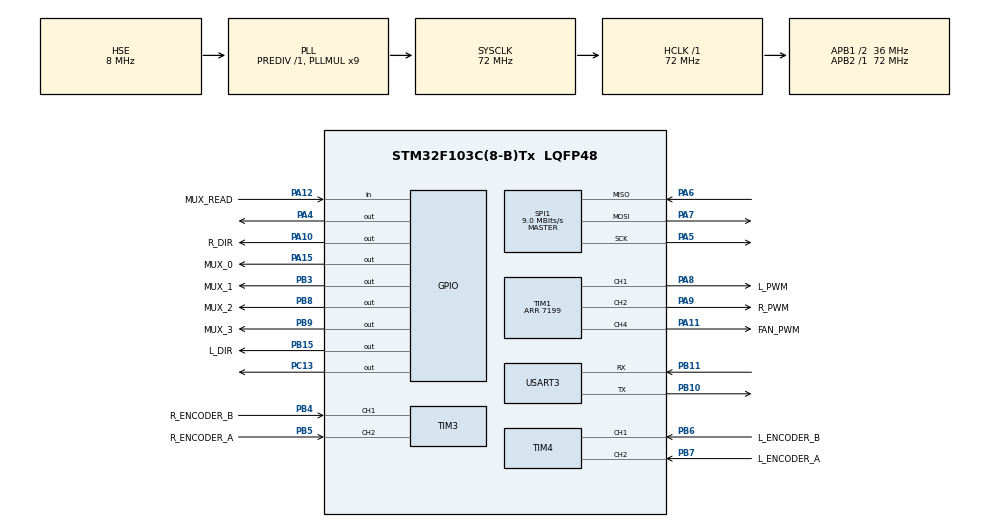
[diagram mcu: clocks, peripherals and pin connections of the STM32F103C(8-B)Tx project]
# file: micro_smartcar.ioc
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Dma.Request0=SPI1_RX
Dma.Request1=SPI1_TX
Dma.SPI1_RX.0.Direction=DMA_PERIPH_TO_MEMORY
Dma.SPI1_RX.0.Instance=DMA1_Channel2
Dma.SPI1_RX.0.MemDataAlignment=DMA_MDATAALIGN_BYTE
Dma.SPI1_RX.0.MemInc=DMA_MINC_ENABLE
Dma.SPI1_RX.0.Mode=DMA_NORMAL
Dma.SPI1_RX.0.PeriphDataAlignment=DMA_PDATAALIGN_BYTE
Dma.SPI1_RX.0.PeriphInc=DMA_PINC_DISABLE
Dma.SPI1_RX.0.Priority=DMA_PRIORITY_LOW
Dma.SPI1_TX.1.Direction=DMA_MEMORY_TO_PERIPH
Dma.SPI1_TX.1.Instance=DMA1_Channel3
Dma.SPI1_TX.1.MemDataAlignment=DMA_MDATAALIGN_BYTE
Dma.SPI1_TX.1.MemInc=DMA_MINC_ENABLE
Dma.SPI1_TX.1.Mode=DMA_NORMAL
Dma.SPI1_TX.1.PeriphDataAlignment=DMA_PDATAALIGN_BYTE
Dma.SPI1_TX.1.PeriphInc=DMA_PINC_DISABLE
Dma.SPI1_TX.1.Priority=DMA_PRIORITY_LOW
Mcu.Family=STM32F1
Mcu.Name=STM32F103C(8-B)Tx
Mcu.Package=LQFP48
NVIC.DMA1_Channel2_IRQn=true\:0\:0\:false\:false\:true\:false\:true\:true
NVIC.DMA1_Channel3_IRQn=true\:0\:0\:false\:false\:true\:false\:true\:true
NVIC.PriorityGroup=NVIC_PRIORITYGROUP_4
NVIC.RCC_IRQn=true\:0\:0\:false\:false\:true\:true\:false\:true
NVIC.SPI1_IRQn=true\:0\:0\:false\:false\:true\:true\:true\:true
NVIC.TIM2_IRQn=true\:1\:0\:true\:false\:true\:true\:true\:true
NVIC.TIM3_IRQn=true\:0\:0\:false\:false\:true\:true\:true\:true
NVIC.TIM4_IRQn=true\:0\:0\:false\:false\:true\:true\:true\:true
NVIC.USART3_IRQn=true\:0\:0\:false\:false\:true\:true\:true\:true
PA10.GPIO_Label=R_DIR
PA10.Signal=GPIO_Output
PA11.GPIO_Label=FAN_PWM
PA11.Signal=S_TIM1_CH4
PA12.GPIO_Label=MUX_READ
PA12.Signal=GPIO_Input
PA13.Mode=Serial_Wire
PA13.Signal=SYS_JTMS-SWDIO
PA14.Mode=Serial_Wire
PA14.Signal=SYS_JTCK-SWCLK
PA15.GPIO_Label=MUX_0
PA15.GPIO_Speed=GPIO_SPEED_FREQ_MEDIUM
PA15.Signal=GPIO_Output
PA4.GPIO_PuPd=GPIO_NOPULL
PA4.GPIO_Speed=GPIO_SPEED_FREQ_HIGH
PA4.Signal=GPIO_Output
PA5.Mode=Full_Duplex_Master
PA5.Signal=SPI1_SCK
PA6.Mode=Full_Duplex_Master
PA6.Signal=SPI1_MISO
PA7.Mode=Full_Duplex_Master
PA7.Signal=SPI1_MOSI
PA8.GPIO_Label=L_PWM
PA8.Signal=S_TIM1_CH1
PA9.GPIO_Label=R_PWM
PA9.Signal=S_TIM1_CH2
PB10.Mode=Asynchronous
PB10.Signal=USART3_TX
PB11.Mode=Asynchronous
PB11.Signal=USART3_RX
PB15.GPIO_Label=L_DIR
PB15.Signal=GPIO_Output
PB3.GPIO_Label=MUX_1
PB3.GPIO_Speed=GPIO_SPEED_FREQ_MEDIUM
PB3.Signal=GPIO_Output
PB4.GPIO_Label=R_ENCODER_B
PB4.Signal=S_TIM3_CH1
PB5.GPIO_Label=R_ENCODER_A
PB5.Signal=S_TIM3_CH2
PB6.GPIO_Label=L_ENCODER_B
PB6.Signal=S_TIM4_CH1
PB7.GPIO_Label=L_ENCODER_A
PB7.Signal=S_TIM4_CH2
PB8.GPIO_Label=MUX_2
PB8.GPIO_Speed=GPIO_SPEED_FREQ_MEDIUM
PB8.Signal=GPIO_Output
PB9.GPIO_Label=MUX_3
PB9.GPIO_Speed=GPIO_SPEED_FREQ_MEDIUM
PB9.Signal=GPIO_Output
PC13-TAMPER-RTC.GPIO_ModeDefaultOutputPP=GPIO_MODE_OUTPUT_OD
PC13-TAMPER-RTC.GPIO_PuPd=GPIO_NOPULL
PC13-TAMPER-RTC.Signal=GPIO_Output
PD0-OSC_IN.Mode=HSE-External-Oscillator
PD0-OSC_IN.Signal=RCC_OSC_IN
PD1-OSC_OUT.Mode=HSE-External-Oscillator
PD1-OSC_OUT.Signal=RCC_OSC_OUT
ProjectManager.HeapSize=0x200
ProjectManager.StackSize=0x400
ProjectManager.TargetToolchain=MDK-ARM V5.32
RCC.AHBFreq_Value=72000000
RCC.APB1CLKDivider=RCC_HCLK_DIV2
RCC.APB1Freq_Value=36000000
RCC.APB1TimFreq_Value=72000000
RCC.APB2Freq_Value=72000000
RCC.APB2TimFreq_Value=72000000
RCC.HCLKFreq_Value=72000000
RCC.PLLMUL=RCC_PLL_MUL9
RCC.PLLSourceVirtual=RCC_PLLSOURCE_HSE
RCC.SYSCLKFreq_VALUE=72000000
RCC.SYSCLKSource=RCC_SYSCLKSOURCE_PLLCLK
RCC.USBFreq_Value=72000000
SH.S_TIM1_CH1.0=TIM1_CH1,PWM Generation1 CH1
SH.S_TIM1_CH2.0=TIM1_CH2,PWM Generation2 CH2
SH.S_TIM1_CH4.0=TIM1_CH4,PWM Generation4 CH4
SH.S_TIM3_CH1.0=TIM3_CH1,Encoder_Interface
SH.S_TIM3_CH2.0=TIM3_CH2,Encoder_Interface
SH.S_TIM4_CH1.0=TIM4_CH1,Encoder_Interface
SH.S_TIM4_CH2.0=TIM4_CH2,Encoder_Interface
SPI1.BaudRatePrescaler=SPI_BAUDRATEPRESCALER_8
SPI1.CalculateBaudRate=9.0 MBits/s
SPI1.Direction=SPI_DIRECTION_2LINES
SPI1.Mode=SPI_MODE_MASTER
SPI1.VirtualType=VM_MASTER
TIM1.Channel-PWM\ Generation1\ CH1=TIM_CHANNEL_1
TIM1.Channel-PWM\ Generation2\ CH2=TIM_CHANNEL_2
TIM1.Channel-PWM\ Generation4\ CH4=TIM_CHANNEL_4
TIM1.Period=7199
TIM2.Period=999
TIM2.Prescaler=71
TIM3.EncoderMode=TIM_ENCODERMODE_TI12
TIM4.EncoderMode=TIM_ENCODERMODE_TI12
USART3.VirtualMode=VM_ASYNC
VP_TIM1_VS_ClockSourceINT.Mode=Internal
VP_TIM2_VS_ClockSourceINT.Mode=Internal
board=custom

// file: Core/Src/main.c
/* USER CODE BEGIN Header */
/**
  ******************************************************************************
  * @file           : main.c
  * @brief          : Main program body
  ******************************************************************************
  * @attention
  *
  * Copyright (c) 2025 STMicroelectronics.
  * All rights reserved.
  *
  * This software is licensed under terms that can be found in the LICENSE file
  * in the root directory of this software component.
  * If no LICENSE file comes with this software, it is provided AS-IS.
  *
  * 本文件内含BMI270�????螺仪的使用示�????
  ******************************************************************************
  */
/* USER CODE END Header */
#include "main.h"

/* USER CODE BEGIN Includes */
#include "dodo_BMI270.h" //陀螺仪驱动
#include "multiplexer.h"//多路复用器驱动，用于读取光电管读数
#include "stdio.h"
#include "string.h"
/* USER CODE END Includes */

/* USER CODE BEGIN PD */
//#define integralLimit0 (20000)  //此值需计算
//#define integralLimit1 (20000)  后面加了
/* USER CODE END PD */

SPI_HandleTypeDef hspi1;
DMA_HandleTypeDef hdma_spi1_rx;
DMA_HandleTypeDef hdma_spi1_tx;

TIM_HandleTypeDef htim1;
TIM_HandleTypeDef htim2;
TIM_HandleTypeDef htim3;
TIM_HandleTypeDef htim4;

UART_HandleTypeDef huart3;

void SystemClock_Config(void);
static void MX_GPIO_Init(void);
static void MX_DMA_Init(void);
static void MX_SPI1_Init(void);
static void MX_TIM1_Init(void);
static void MX_TIM2_Init(void);
static void MX_TIM3_Init(void);
static void MX_USART3_UART_Init(void);
static void MX_TIM4_Init(void);

/* USER CODE BEGIN 0 */
int fputc(int ch, FILE *f)
{
  HAL_UART_Transmit(&huart3, (uint8_t *)&ch, 1, 0xffff);
  return ch;
}
	//光电管
  int8_t photo_weight[12] = {-6, -5, -4, -3, -2, -1, 1, 2, 3, 4, 5, 6};  // 权值
  uint8_t photo_val[12]={0}; //这是干嘛的？//记录比较器的输出是多少

  float gyro_x, gyro_y, gyro_z, accel_x, accel_y, accel_z;//陀螺仪数据
  // PID控制器结构体
typedef struct {
    // 参数
    float Kp;
    float Ki;
    float Kd;

    // 状态变量
    float current_error;
    float pre_error;
    float inte_error;

    // 积分限幅
    float integral_limit;
} PID_Controller;

// 全局变量
/*const float Kp_angle=0;
const float Kd_angle=0;*/
volatile float measured_angle;

/*const float Kp_Angularvelocity=0;
const float Ki_Angularvelocity=0;
const float Kd_Angularvelocity=0;*/

/*const float Kp_vio=0;
const float Ki_vio=0;*/

const float target_angle=0;    // 与光电管PD相关的参数
uint16_t mux_value;            //存储光电管从多路复用器（MUX）读取到的 “打包数据”

volatile float target_Angularvelocity;
volatile float measured_Angularvelocity;
const float integralLimit0 = 100.0f;  // 角速度环积分限幅

volatile float target_translation_vio=50;//目标平动速度
float target_leftwheelvio;
float rotatevio_adding;
float target_rightwheelvio;
volatile float measured_leftwheelvio;
volatile float measured_rightwheelvio;
const float integralLimit1 = 100.0f;  // 速度环积分限幅

float leftoutput;
float leftpwm;
float rightoutput;
float rightpwm;

//三个结构体定义
PID_Controller angle_pid_pd = {.Kp=0, 0, .Kd=0, 0, 0, 0, 0};  // 角度环只有PD
PID_Controller angular_velocity_pid_pid = {.Kp=0, .Ki=0, .Kd=0, 0, 0, 0, integralLimit0};
PID_Controller velocity_pid_pi_left = {.Kp=70, .Ki=13, 0, 0, 0, 0, integralLimit1};
PID_Controller velocity_pid_pi_right = {.Kp=70, .Ki=13, 0, 0, 0, 0, integralLimit1};

//前三个为PID参数，接下来三个是目前误差，前一次误差，以及积分加和误差，最后一个参数是积分限幅

/*void Calculate_measured_angle()
{
    // 实现测量角度计算
}*/
//这里不需要

// PID计算函数
float PID_Calculate(PID_Controller* pid, float target, float measured)
{
    pid->current_error = target - measured;

    float output = pid->Kp * pid->current_error +
                   pid->Kd * (pid->current_error - pid->pre_error);

    // 只有Ki不为0时才计算积分项
    if (pid->Ki != 0) {
        pid->inte_error += pid->current_error;

        // 积分饱和处理
        if (pid->inte_error > pid->integral_limit) {
            pid->inte_error = pid->integral_limit;
        } else if (pid->inte_error < -pid->integral_limit) {
            pid->inte_error = -pid->integral_limit;
        }

        output += pid->Ki * pid->inte_error;
    }

    pid->pre_error = pid->current_error;
    return output;
}

void PIDcontrollor() // 第一种方案PID
{
    // 转向环
    target_Angularvelocity = PID_Calculate(&angle_pid_pd, target_angle, measured_angle);

    // 角速度环
		measured_Angularvelocity=gyro_z;//左正右负
    rotatevio_adding = PID_Calculate(&angular_velocity_pid_pid, target_Angularvelocity, measured_Angularvelocity);

    // 速度环
    target_leftwheelvio =  target_translation_vio + rotatevio_adding;
    target_rightwheelvio = target_translation_vio - rotatevio_adding;

        // 左右轮分别控制
    rightoutput = PID_Calculate(&velocity_pid_pi_right, target_rightwheelvio, measured_rightwheelvio);
    leftoutput = PID_Calculate(&velocity_pid_pi_left, target_leftwheelvio, measured_leftwheelvio);

/*	 leftpwm= leftoutput;
	 rightpwm=rightoutput;

   if (leftpwm > 3600) {
     leftpwm = 3600;                 //限速
   }
	 else if (leftpwm <-3600) {
     leftpwm =-3600;
   }

   if (rightpwm > 3600) {
     rightpwm = 3600;
   }
   else if (rightpwm <-3600) {
     rightpwm =-3600;
   }

	 if ( leftpwm >= 0) {
   TIM1->CCR1 =  leftpwm, HAL_GPIO_WritePin(GPIOB, GPIO_PIN_15, GPIO_PIN_SET);
 } else {
   TIM1->CCR1 = -leftpwm, HAL_GPIO_WritePin(GPIOB, GPIO_PIN_15, GPIO_PIN_RESET); // 操作ccr改pwm
 }

  if ( rightpwm >= 0) {
   TIM1->CCR2 =  rightpwm, HAL_GPIO_WritePin(GPIOA, GPIO_PIN_10, GPIO_PIN_SET);
 } else {
   TIM1->CCR2 = -rightpwm, HAL_GPIO_WritePin(GPIOA, GPIO_PIN_10, GPIO_PIN_RESET);
 }
	  */
}
void if_Stoprunning()
{
		int counter=0;

		for(int j=0;j<=11;j++)
			{
				if(photo_val[j]==0)
				{
					counter++;          //检测所有的光电管是不是都检测到界外
				}
			}

		if(counter==0)
			{
				target_translation_vio=0; //如果完全处于界外，停车
			}

}

void HAL_TIM_PeriodElapsedCallback(TIM_HandleTypeDef *htim){
	if(htim==&htim2){		//TIM2是1ms中断，需要改成5ms中断么？（或者不改中断，在中断回调函数进行计数）  改成5ms为好，或者干到10ms应该也没啥事
		measured_leftwheelvio  = (int16_t)__HAL_TIM_GET_COUNTER(&htim4);
		measured_rightwheelvio = -(int16_t)__HAL_TIM_GET_COUNTER(&htim3);
		__HAL_TIM_SET_COUNTER(&htim4, 0);
		__HAL_TIM_SET_COUNTER(&htim3, 0);

		MUX_get_value(&mux_value);
		for(int i=0;i<=11;i++)//这个循环要塞在这里吗？放到中断回调不知道是不是会有问题，但是放到主循环又容易读不全//单从循环本身看，12 次迭代的耗时通常很短（可能在微秒级，远小于 1ms）
			{
				photo_val[i]=MUX_GET_CHANNEL(mux_value,i);//白色为1，蓝色为0
			//	printf("%d ",photo_val[i]);//测试光电管Vb
				measured_angle += photo_weight[i] * (photo_val[i]); //读取并计算光电管加权
			}
			//printf("\n");
	  //if_Stoprunning();//检测小车是否出界并自动停车
		PIDcontrollor();
		measured_angle=0;
		memset(photo_val,0,sizeof(photo_val));//清零

		//输出限幅和调整
	 leftpwm= leftoutput;
	 rightpwm= rightoutput;

   if (leftpwm > 3600) {
     leftpwm = 3600;                 //限速
   }
	 else if (leftpwm <-3600) {
     leftpwm =-3600;
   }

   if (rightpwm > 3600) {
     rightpwm = 3600;
   }
   else if (rightpwm <-3600) {
     rightpwm =-3600;
   }

	 if ( leftpwm >= 0) {
		 TIM1->CCR1 =  leftpwm, HAL_GPIO_WritePin(GPIOB, GPIO_PIN_15, GPIO_PIN_RESET);
	 } else {
		 TIM1->CCR1 = -leftpwm, HAL_GPIO_WritePin(GPIOB, GPIO_PIN_15, GPIO_PIN_SET); // 操作ccr改pwm
	 }

   if ( rightpwm >= 0) {
     TIM1->CCR2 =  rightpwm, HAL_GPIO_WritePin(GPIOA, GPIO_PIN_10, GPIO_PIN_SET);
   } else {
     TIM1->CCR2 = -rightpwm, HAL_GPIO_WritePin(GPIOA, GPIO_PIN_10, GPIO_PIN_RESET);
   }
	}
		printf("%f\r\n",measured_rightwheelvio);
}
/* USER CODE END 0 */

int main(void)
{

  /* MCU Configuration--------------------------------------------------------*/

  /* Reset of all peripherals, Initializes the Flash interface and the Systick. */
  HAL_Init();

  /* Configure the system clock */
  SystemClock_Config();

  /* Initialize all configured peripherals */
  MX_GPIO_Init();
  MX_DMA_Init();
  MX_SPI1_Init();
  MX_TIM1_Init();
  MX_TIM2_Init();
  MX_TIM3_Init();
  MX_USART3_UART_Init();
  MX_TIM4_Init();
  /* USER CODE BEGIN 2 */
	dodo_BMI270_init();//初始化陀螺仪
  HAL_TIM_Base_Start_IT(&htim2);
	HAL_TIM_PWM_Start(&htim1,TIM_CHANNEL_1);
	HAL_TIM_PWM_Start(&htim1,TIM_CHANNEL_2);
	HAL_TIM_Encoder_Start(&htim3,TIM_CHANNEL_ALL);
	HAL_TIM_Encoder_Start(&htim4,TIM_CHANNEL_ALL);
  /* USER CODE END 2 */

  /* Infinite loop */
  /* USER CODE BEGIN WHILE */
  while (1)
  {
    //以下为陀螺仪使用示例
    dodo_BMI270_get_data();//调用此函数会更新陀螺仪数据
    gyro_x=BMI270_gyro_transition(BMI270_gyro_x);//将原始陀螺仪数据转换为物理值，单位为度每秒
    gyro_y=BMI270_gyro_transition(BMI270_gyro_y);
    gyro_z=BMI270_gyro_transition(BMI270_gyro_z);
		//TIM1->CCR1=3000;

    accel_x=BMI270_acc_transition(BMI270_accel_x);//将原始加速度计数据转换为物理值，单位为g，一般不需要使用此数据
    accel_y=BMI270_acc_transition(BMI270_accel_y);
    accel_z=BMI270_acc_transition(BMI270_accel_z);
    //printf("G: %f %f %f | A: %f %f %f\r\n", gyro_x, gyro_y, gyro_z, accel_x, accel_y, accel_z);
		//输出陀螺仪读数，测试是否成功启动，正常使用时不需要这行代码

		/*//以下为读取光电管的示例（从左到右编号0~11）
    uint16_t mux_value;
    MUX_get_value(&mux_value);
	  for(int i=0;i<=11;i++){
      printf("%d,",MUX_GET_CHANNEL(mux_value,i));//获取第i个光电管的数值并输出
    }
    printf("\n");*/
    /* USER CODE END WHILE */

  }
}

void SystemClock_Config(void)
{
  RCC_OscInitTypeDef RCC_OscInitStruct = {0};
  RCC_ClkInitTypeDef RCC_ClkInitStruct = {0};

  /** Initializes the RCC Oscillators according to the specified parameters
  * in the RCC_OscInitTypeDef structure.
  */
  RCC_OscInitStruct.OscillatorType = RCC_OSCILLATORTYPE_HSE;
  RCC_OscInitStruct.HSEState = RCC_HSE_ON;
  RCC_OscInitStruct.HSEPredivValue = RCC_HSE_PREDIV_DIV1;
  RCC_OscInitStruct.HSIState = RCC_HSI_ON;
  RCC_OscInitStruct.PLL.PLLState = RCC_PLL_ON;
  RCC_OscInitStruct.PLL.PLLSource = RCC_PLLSOURCE_HSE;
  RCC_OscInitStruct.PLL.PLLMUL = RCC_PLL_MUL9;
  if (HAL_RCC_OscConfig(&RCC_OscInitStruct) != HAL_OK)
  {
    Error_Handler();
  }

  /** Initializes the CPU, AHB and APB buses clocks
  */
  RCC_ClkInitStruct.ClockType = RCC_CLOCKTYPE_HCLK|RCC_CLOCKTYPE_SYSCLK
                              |RCC_CLOCKTYPE_PCLK1|RCC_CLOCKTYPE_PCLK2;
  RCC_ClkInitStruct.SYSCLKSource = RCC_SYSCLKSOURCE_PLLCLK;
  RCC_ClkInitStruct.AHBCLKDivider = RCC_SYSCLK_DIV1;
  RCC_ClkInitStruct.APB1CLKDivider = RCC_HCLK_DIV2;
  RCC_ClkInitStruct.APB2CLKDivider = RCC_HCLK_DIV1;

  if (HAL_RCC_ClockConfig(&RCC_ClkInitStruct, FLASH_LATENCY_2) != HAL_OK)
  {
    Error_Handler();
  }
}

static void MX_SPI1_Init(void)
{

  /* SPI1 parameter configuration*/
  hspi1.Instance = SPI1;
  hspi1.Init.Mode = SPI_MODE_MASTER;
  hspi1.Init.Direction = SPI_DIRECTION_2LINES;
  hspi1.Init.DataSize = SPI_DATASIZE_8BIT;
  hspi1.Init.CLKPolarity = SPI_POLARITY_LOW;
  hspi1.Init.CLKPhase = SPI_PHASE_1EDGE;
  hspi1.Init.NSS = SPI_NSS_SOFT;
  hspi1.Init.BaudRatePrescaler = SPI_BAUDRATEPRESCALER_8;
  hspi1.Init.FirstBit = SPI_FIRSTBIT_MSB;
  hspi1.Init.TIMode = SPI_TIMODE_DISABLE;
  hspi1.Init.CRCCalculation = SPI_CRCCALCULATION_DISABLE;
  hspi1.Init.CRCPolynomial = 10;
  if (HAL_SPI_Init(&hspi1) != HAL_OK)
  {
    Error_Handler();
  }

}

static void MX_TIM1_Init(void)
{

  TIM_ClockConfigTypeDef sClockSourceConfig = {0};
  TIM_MasterConfigTypeDef sMasterConfig = {0};
  TIM_OC_InitTypeDef sConfigOC = {0};
  TIM_BreakDeadTimeConfigTypeDef sBreakDeadTimeConfig = {0};

  htim1.Instance = TIM1;
  htim1.Init.Prescaler = 0;
  htim1.Init.CounterMode = TIM_COUNTERMODE_UP;
  htim1.Init.Period = 7199;
  htim1.Init.ClockDivision = TIM_CLOCKDIVISION_DIV1;
  htim1.Init.RepetitionCounter = 0;
  htim1.Init.AutoReloadPreload = TIM_AUTORELOAD_PRELOAD_DISABLE;
  if (HAL_TIM_Base_Init(&htim1) != HAL_OK)
  {
    Error_Handler();
  }
  sClockSourceConfig.ClockSource = TIM_CLOCKSOURCE_INTERNAL;
  if (HAL_TIM_ConfigClockSource(&htim1, &sClockSourceConfig) != HAL_OK)
  {
    Error_Handler();
  }
  if (HAL_TIM_PWM_Init(&htim1) != HAL_OK)
  {
    Error_Handler();
  }
  sMasterConfig.MasterOutputTrigger = TIM_TRGO_RESET;
  sMasterConfig.MasterSlaveMode = TIM_MASTERSLAVEMODE_DISABLE;
  if (HAL_TIMEx_MasterConfigSynchronization(&htim1, &sMasterConfig) != HAL_OK)
  {
    Error_Handler();
  }
  sConfigOC.OCMode = TIM_OCMODE_PWM1;
  sConfigOC.Pulse = 1000;
  sConfigOC.OCPolarity = TIM_OCPOLARITY_HIGH;
  sConfigOC.OCNPolarity = TIM_OCNPOLARITY_HIGH;
  sConfigOC.OCFastMode = TIM_OCFAST_DISABLE;
  sConfigOC.OCIdleState = TIM_OCIDLESTATE_RESET;
  sConfigOC.OCNIdleState = TIM_OCNIDLESTATE_RESET;
  if (HAL_TIM_PWM_ConfigChannel(&htim1, &sConfigOC, TIM_CHANNEL_1) != HAL_OK)
  {
    Error_Handler();
  }
  sConfigOC.Pulse = 0;
  if (HAL_TIM_PWM_ConfigChannel(&htim1, &sConfigOC, TIM_CHANNEL_2) != HAL_OK)
  {
    Error_Handler();
  }
  if (HAL_TIM_PWM_ConfigChannel(&htim1, &sConfigOC, TIM_CHANNEL_4) != HAL_OK)
  {
    Error_Handler();
  }
  sBreakDeadTimeConfig.OffStateRunMode = TIM_OSSR_DISABLE;
  sBreakDeadTimeConfig.OffStateIDLEMode = TIM_OSSI_DISABLE;
  sBreakDeadTimeConfig.LockLevel = TIM_LOCKLEVEL_OFF;
  sBreakDeadTimeConfig.DeadTime = 0;
  sBreakDeadTimeConfig.BreakState = TIM_BREAK_DISABLE;
  sBreakDeadTimeConfig.BreakPolarity = TIM_BREAKPOLARITY_HIGH;
  sBreakDeadTimeConfig.AutomaticOutput = TIM_AUTOMATICOUTPUT_DISABLE;
  if (HAL_TIMEx_ConfigBreakDeadTime(&htim1, &sBreakDeadTimeConfig) != HAL_OK)
  {
    Error_Handler();
  }
  HAL_TIM_MspPostInit(&htim1);

}

static void MX_TIM2_Init(void)
{

  TIM_ClockConfigTypeDef sClockSourceConfig = {0};
  TIM_MasterConfigTypeDef sMasterConfig = {0};

  htim2.Instance = TIM2;
  htim2.Init.Prescaler = 71;
  htim2.Init.CounterMode = TIM_COUNTERMODE_UP;
  htim2.Init.Period = 999;
  htim2.Init.ClockDivision = TIM_CLOCKDIVISION_DIV1;
  htim2.Init.AutoReloadPreload = TIM_AUTORELOAD_PRELOAD_DISABLE;
  if (HAL_TIM_Base_Init(&htim2) != HAL_OK)
  {
    Error_Handler();
  }
  sClockSourceConfig.ClockSource = TIM_CLOCKSOURCE_INTERNAL;
  if (HAL_TIM_ConfigClockSource(&htim2, &sClockSourceConfig) != HAL_OK)
  {
    Error_Handler();
  }
  sMasterConfig.MasterOutputTrigger = TIM_TRGO_RESET;
  sMasterConfig.MasterSlaveMode = TIM_MASTERSLAVEMODE_DISABLE;
  if (HAL_TIMEx_MasterConfigSynchronization(&htim2, &sMasterConfig) != HAL_OK)
  {
    Error_Handler();
  }

}

static void MX_TIM3_Init(void)
{

  TIM_Encoder_InitTypeDef sConfig = {0};
  TIM_MasterConfigTypeDef sMasterConfig = {0};

  htim3.Instance = TIM3;
  htim3.Init.Prescaler = 0;
  htim3.Init.CounterMode = TIM_COUNTERMODE_UP;
  htim3.Init.Period = 65535;
  htim3.Init.ClockDivision = TIM_CLOCKDIVISION_DIV1;
  htim3.Init.AutoReloadPreload = TIM_AUTORELOAD_PRELOAD_DISABLE;
  sConfig.EncoderMode = TIM_ENCODERMODE_TI12;
  sConfig.IC1Polarity = TIM_ICPOLARITY_RISING;
  sConfig.IC1Selection = TIM_ICSELECTION_DIRECTTI;
  sConfig.IC1Prescaler = TIM_ICPSC_DIV1;
  sConfig.IC1Filter = 0;
  sConfig.IC2Polarity = TIM_ICPOLARITY_RISING;
  sConfig.IC2Selection = TIM_ICSELECTION_DIRECTTI;
  sConfig.IC2Prescaler = TIM_ICPSC_DIV1;
  sConfig.IC2Filter = 0;
  if (HAL_TIM_Encoder_Init(&htim3, &sConfig) != HAL_OK)
  {
    Error_Handler();
  }
  sMasterConfig.MasterOutputTrigger = TIM_TRGO_RESET;
  sMasterConfig.MasterSlaveMode = TIM_MASTERSLAVEMODE_DISABLE;
  if (HAL_TIMEx_MasterConfigSynchronization(&htim3, &sMasterConfig) != HAL_OK)
  {
    Error_Handler();
  }

}

static void MX_TIM4_Init(void)
{

  TIM_Encoder_InitTypeDef sConfig = {0};
  TIM_MasterConfigTypeDef sMasterConfig = {0};

  htim4.Instance = TIM4;
  htim4.Init.Prescaler = 0;
  htim4.Init.CounterMode = TIM_COUNTERMODE_UP;
  htim4.Init.Period = 65535;
  htim4.Init.ClockDivision = TIM_CLOCKDIVISION_DIV1;
  htim4.Init.AutoReloadPreload = TIM_AUTORELOAD_PRELOAD_DISABLE;
  sConfig.EncoderMode = TIM_ENCODERMODE_TI12;
  sConfig.IC1Polarity = TIM_ICPOLARITY_RISING;
  sConfig.IC1Selection = TIM_ICSELECTION_DIRECTTI;
  sConfig.IC1Prescaler = TIM_ICPSC_DIV1;
  sConfig.IC1Filter = 0;
  sConfig.IC2Polarity = TIM_ICPOLARITY_RISING;
  sConfig.IC2Selection = TIM_ICSELECTION_DIRECTTI;
  sConfig.IC2Prescaler = TIM_ICPSC_DIV1;
  sConfig.IC2Filter = 0;
  if (HAL_TIM_Encoder_Init(&htim4, &sConfig) != HAL_OK)
  {
    Error_Handler();
  }
  sMasterConfig.MasterOutputTrigger = TIM_TRGO_RESET;
  sMasterConfig.MasterSlaveMode = TIM_MASTERSLAVEMODE_DISABLE;
  if (HAL_TIMEx_MasterConfigSynchronization(&htim4, &sMasterConfig) != HAL_OK)
  {
    Error_Handler();
  }

}

static void MX_USART3_UART_Init(void)
{

  huart3.Instance = USART3;
  huart3.Init.BaudRate = 115200;
  huart3.Init.WordLength = UART_WORDLENGTH_8B;
  huart3.Init.StopBits = UART_STOPBITS_1;
  huart3.Init.Parity = UART_PARITY_NONE;
  huart3.Init.Mode = UART_MODE_TX_RX;
  huart3.Init.HwFlowCtl = UART_HWCONTROL_NONE;
  huart3.Init.OverSampling = UART_OVERSAMPLING_16;
  if (HAL_UART_Init(&huart3) != HAL_OK)
  {
    Error_Handler();
  }

}

static void MX_DMA_Init(void)
{

  /* DMA controller clock enable */
  __HAL_RCC_DMA1_CLK_ENABLE();

  /* DMA interrupt init */
  /* DMA1_Channel2_IRQn interrupt configuration */
  HAL_NVIC_SetPriority(DMA1_Channel2_IRQn, 0, 0);
  HAL_NVIC_EnableIRQ(DMA1_Channel2_IRQn);
  /* DMA1_Channel3_IRQn interrupt configuration */
  HAL_NVIC_SetPriority(DMA1_Channel3_IRQn, 0, 0);
  HAL_NVIC_EnableIRQ(DMA1_Channel3_IRQn);

}

static void MX_GPIO_Init(void)
{
  GPIO_InitTypeDef GPIO_InitStruct = {0};

  /* GPIO Ports Clock Enable */
  __HAL_RCC_GPIOC_CLK_ENABLE();
  __HAL_RCC_GPIOD_CLK_ENABLE();
  __HAL_RCC_GPIOA_CLK_ENABLE();
  __HAL_RCC_GPIOB_CLK_ENABLE();

  /*Configure GPIO pin Output Level */
  HAL_GPIO_WritePin(GPIOC, GPIO_PIN_13, GPIO_PIN_RESET);

  /*Configure GPIO pin Output Level */
  HAL_GPIO_WritePin(GPIOA, GPIO_PIN_4|R_DIR_Pin|MUX_0_Pin, GPIO_PIN_RESET);

  /*Configure GPIO pin Output Level */
  HAL_GPIO_WritePin(GPIOB, L_DIR_Pin|MUX_1_Pin|MUX_2_Pin|MUX_3_Pin, GPIO_PIN_RESET);

  /*Configure GPIO pin : PC13 */
  GPIO_InitStruct.Pin = GPIO_PIN_13;
  GPIO_InitStruct.Mode = GPIO_MODE_OUTPUT_OD;
  GPIO_InitStruct.Pull = GPIO_NOPULL;
  GPIO_InitStruct.Speed = GPIO_SPEED_FREQ_LOW;
  HAL_GPIO_Init(GPIOC, &GPIO_InitStruct);

  /*Configure GPIO pin : PA4 */
  GPIO_InitStruct.Pin = GPIO_PIN_4;
  GPIO_InitStruct.Mode = GPIO_MODE_OUTPUT_PP;
  GPIO_InitStruct.Pull = GPIO_NOPULL;
  GPIO_InitStruct.Speed = GPIO_SPEED_FREQ_HIGH;
  HAL_GPIO_Init(GPIOA, &GPIO_InitStruct);

  /*Configure GPIO pin : L_DIR_Pin */
  GPIO_InitStruct.Pin = L_DIR_Pin;
  GPIO_InitStruct.Mode = GPIO_MODE_OUTPUT_PP;
  GPIO_InitStruct.Pull = GPIO_NOPULL;
  GPIO_InitStruct.Speed = GPIO_SPEED_FREQ_LOW;
  HAL_GPIO_Init(L_DIR_GPIO_Port, &GPIO_InitStruct);

  /*Configure GPIO pin : R_DIR_Pin */
  GPIO_InitStruct.Pin = R_DIR_Pin;
  GPIO_InitStruct.Mode = GPIO_MODE_OUTPUT_PP;
  GPIO_InitStruct.Pull = GPIO_NOPULL;
  GPIO_InitStruct.Speed = GPIO_SPEED_FREQ_LOW;
  HAL_GPIO_Init(R_DIR_GPIO_Port, &GPIO_InitStruct);

  /*Configure GPIO pin : MUX_READ_Pin */
  GPIO_InitStruct.Pin = MUX_READ_Pin;
  GPIO_InitStruct.Mode = GPIO_MODE_INPUT;
  GPIO_InitStruct.Pull = GPIO_NOPULL;
  HAL_GPIO_Init(MUX_READ_GPIO_Port, &GPIO_InitStruct);

  /*Configure GPIO pin : MUX_0_Pin */
  GPIO_InitStruct.Pin = MUX_0_Pin;
  GPIO_InitStruct.Mode = GPIO_MODE_OUTPUT_PP;
  GPIO_InitStruct.Pull = GPIO_NOPULL;
  GPIO_InitStruct.Speed = GPIO_SPEED_FREQ_MEDIUM;
  HAL_GPIO_Init(MUX_0_GPIO_Port, &GPIO_InitStruct);

  /*Configure GPIO pins : MUX_1_Pin MUX_2_Pin MUX_3_Pin */
  GPIO_InitStruct.Pin = MUX_1_Pin|MUX_2_Pin|MUX_3_Pin;
  GPIO_InitStruct.Mode = GPIO_MODE_OUTPUT_PP;
  GPIO_InitStruct.Pull = GPIO_NOPULL;
  GPIO_InitStruct.Speed = GPIO_SPEED_FREQ_MEDIUM;
  HAL_GPIO_Init(GPIOB, &GPIO_InitStruct);

}

void Error_Handler(void)
{
  __disable_irq();
  while (1)
  {
  }
}
